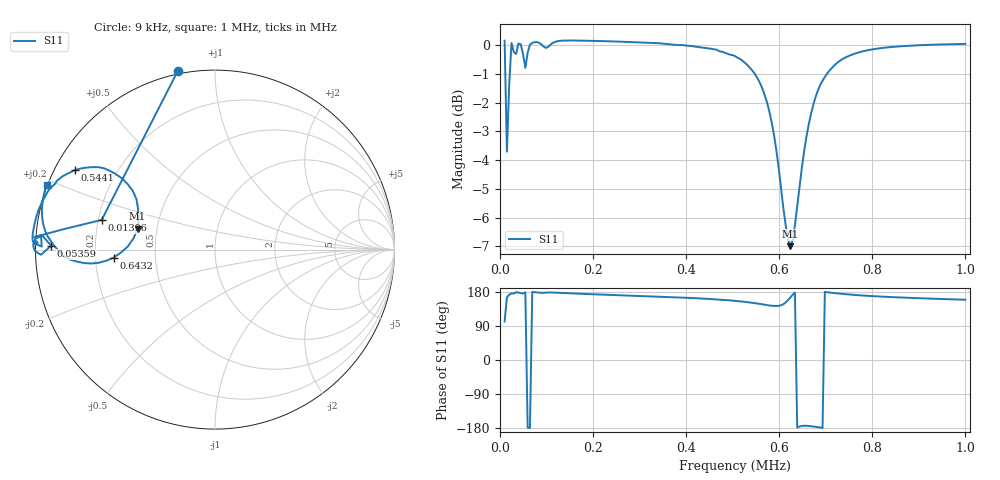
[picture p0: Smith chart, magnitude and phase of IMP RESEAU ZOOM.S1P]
!Agilent Technologies,E5071C,MY46109397,A.09.54
!Date: Mon Jan 01 01:28:01 2001
!Data & Calibration Information:
!Freq	S11:SOLT1(ON)
# Hz S RI R 50
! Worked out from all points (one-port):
!   201 points, 9 kHz to 1 MHz, reference 50 ohm
!   lowest |S11| = -7.0 dB at 623.4 kHz (marker M1), VSWR 2.62, Z = 19.4 + j5.64 ohm
!   |S11| at or under -10 dB: nowhere
!   S11 on the Smith chart (normalised r, x): 9 kHz: -0.02, +0.81; 13.96 kHz: 0.21, +0.12; 53.59 kHz: 0.05, +0.01; 544.1 kHz: 0.06, +0.26; 643.2 kHz: 0.28, -0.04; 1 MHz: -0.00, +0.19
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9000  -0.2065 0.9971
13955  -0.6312 0.1656
18910  -0.848 0.1126
23865  -1.006 0.0697
28820  -0.9693 0.0801
33775  -0.9654 0.0167
43685  -1.002 0.0609
48640  -0.9614 0.0778
53595  -0.9127 0.0214
58550  -0.9697 -0.0288
68460  -1.009 0.00731
98190  -0.9884 0.0385
132875  -1.017 0.0594
256750  -1.002 0.1584
380625  -0.9687 0.2539
504500  -0.8745 0.389
544140  -0.7824 0.4414
573870  -0.646 0.4589
588735  -0.5532 0.4207
608555  -0.4376 0.2809
623420  -0.4315 0.1163
628375  -0.453 0.0639
643240  -0.5651 -0.0446
663060  -0.724 -0.0756
687835  -0.8524 -0.0272
752250  -0.9521 0.1239
876125  -0.9597 0.2721
1000000  -0.9385 0.36
